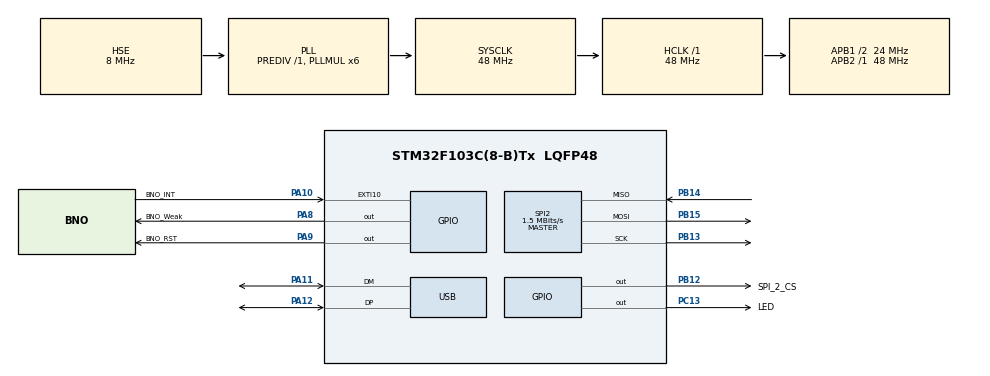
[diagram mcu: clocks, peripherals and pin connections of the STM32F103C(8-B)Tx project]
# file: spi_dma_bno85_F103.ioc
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Dma.Request0=SPI2_RX
Dma.Request1=SPI2_TX
Dma.SPI2_RX.0.Direction=DMA_PERIPH_TO_MEMORY
Dma.SPI2_RX.0.Instance=DMA1_Channel4
Dma.SPI2_RX.0.MemDataAlignment=DMA_MDATAALIGN_BYTE
Dma.SPI2_RX.0.MemInc=DMA_MINC_ENABLE
Dma.SPI2_RX.0.Mode=DMA_NORMAL
Dma.SPI2_RX.0.PeriphDataAlignment=DMA_PDATAALIGN_BYTE
Dma.SPI2_RX.0.PeriphInc=DMA_PINC_DISABLE
Dma.SPI2_RX.0.Priority=DMA_PRIORITY_LOW
Dma.SPI2_TX.1.Direction=DMA_MEMORY_TO_PERIPH
Dma.SPI2_TX.1.Instance=DMA1_Channel5
Dma.SPI2_TX.1.MemDataAlignment=DMA_MDATAALIGN_BYTE
Dma.SPI2_TX.1.MemInc=DMA_MINC_ENABLE
Dma.SPI2_TX.1.Mode=DMA_NORMAL
Dma.SPI2_TX.1.PeriphDataAlignment=DMA_PDATAALIGN_BYTE
Dma.SPI2_TX.1.PeriphInc=DMA_PINC_DISABLE
Dma.SPI2_TX.1.Priority=DMA_PRIORITY_LOW
FREERTOS.Tasks01=defaultTask,24,128,StartDefaultTask,Default,NULL,Dynamic,NULL,NULL;BNO_85_Recive_D,24,128,StartTask02,Default,NULL,Dynamic,NULL,NULL
FREERTOS.configUSE_NEWLIB_REENTRANT=1
Mcu.Family=STM32F1
Mcu.Name=STM32F103C(8-B)Tx
Mcu.Package=LQFP48
NVIC.DMA1_Channel4_IRQn=true\:5\:0\:false\:false\:true\:true\:false\:true\:true
NVIC.DMA1_Channel5_IRQn=true\:5\:0\:false\:false\:true\:true\:false\:true\:true
NVIC.EXTI15_10_IRQn=true\:5\:0\:false\:false\:true\:true\:true\:true\:true
NVIC.PriorityGroup=NVIC_PRIORITYGROUP_4
NVIC.SPI2_IRQn=true\:5\:0\:false\:false\:true\:true\:true\:true\:true
NVIC.TIM4_IRQn=true\:15\:0\:false\:false\:true\:false\:false\:true\:true
NVIC.TimeBase=TIM4_IRQn
NVIC.TimeBaseIP=TIM4
NVIC.USB_LP_CAN1_RX0_IRQn=true\:5\:0\:false\:false\:true\:true\:false\:true\:true
PA10.GPIO_Label=BNO_INT
PA10.GPIO_ModeDefaultEXTI=GPIO_MODE_IT_FALLING
PA10.GPIO_PuPd=GPIO_NOPULL
PA10.Signal=GPXTI10
PA11.Mode=Device
PA11.Signal=USB_DM
PA12.Mode=Device
PA12.Signal=USB_DP
PA13.Mode=Serial_Wire
PA13.Signal=SYS_JTMS-SWDIO
PA14.Mode=Serial_Wire
PA14.Signal=SYS_JTCK-SWCLK
PA8.GPIO_Label=BNO_Weak
PA8.Signal=GPIO_Output
PA9.GPIO_Label=BNO_RST
PA9.Signal=GPIO_Output
PB12.GPIO_Label=SPI_2_CS
PB12.Signal=GPIO_Output
PB13.Mode=Full_Duplex_Master
PB13.Signal=SPI2_SCK
PB14.Mode=Full_Duplex_Master
PB14.Signal=SPI2_MISO
PB15.Mode=Full_Duplex_Master
PB15.Signal=SPI2_MOSI
PC13-TAMPER-RTC.GPIO_Label=LED
PC13-TAMPER-RTC.Signal=GPIO_Output
PD0-OSC_IN.Mode=HSE-External-Oscillator
PD0-OSC_IN.Signal=RCC_OSC_IN
PD1-OSC_OUT.Mode=HSE-External-Oscillator
PD1-OSC_OUT.Signal=RCC_OSC_OUT
ProjectManager.HeapSize=0x200
ProjectManager.StackSize=0x400
ProjectManager.TargetToolchain=STM32CubeIDE
RCC.AHBFreq_Value=48000000
RCC.APB1CLKDivider=RCC_HCLK_DIV2
RCC.APB1Freq_Value=24000000
RCC.APB1TimFreq_Value=48000000
RCC.APB2Freq_Value=48000000
RCC.APB2TimFreq_Value=48000000
RCC.HCLKFreq_Value=48000000
RCC.PLLMUL=RCC_PLL_MUL6
RCC.PLLSourceVirtual=RCC_PLLSOURCE_HSE
RCC.SYSCLKFreq_VALUE=48000000
RCC.SYSCLKSource=RCC_SYSCLKSOURCE_PLLCLK
RCC.USBFreq_Value=48000000
SPI2.BaudRatePrescaler=SPI_BAUDRATEPRESCALER_16
SPI2.CLKPhase=SPI_PHASE_2EDGE
SPI2.CLKPolarity=SPI_POLARITY_HIGH
SPI2.CalculateBaudRate=1.5 MBits/s
SPI2.Direction=SPI_DIRECTION_2LINES
SPI2.Mode=SPI_MODE_MASTER
SPI2.VirtualType=VM_MASTER
USB_DEVICE.CLASS_NAME_FS=CDC
USB_DEVICE.VirtualMode=Cdc
USB_DEVICE.VirtualModeFS=Cdc_FS
VP_FREERTOS_VS_CMSIS_V2.Mode=CMSIS_V2
VP_SYS_VS_tim4.Mode=TIM4
VP_USB_DEVICE_VS_USB_DEVICE_CDC_FS.Mode=CDC_FS
board=custom

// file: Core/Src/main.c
/* USER CODE BEGIN Header */
/**
  ******************************************************************************
  * @file           : main.c
  * @brief          : Main program body
  ******************************************************************************
  * @attention
  *
  * Copyright (c) 2024 STMicroelectronics.
  * All rights reserved.
  *
  * This software is licensed under terms that can be found in the LICENSE file
  * in the root directory of this software component.
  * If no LICENSE file comes with this software, it is provided AS-IS.
  *
  ******************************************************************************
  */
/* USER CODE END Header */
#include "main.h"
#include "cmsis_os.h"
#include "usb_device.h"

/* USER CODE BEGIN Includes */

#include "usbd_cdc_if.h"

#include <stdio.h>
#include <stdbool.h>
#include <string.h>

#include "BNO080.h"
#include "quaternion.h"

#include "Float_transform.h"

/* USER CODE END Includes */

/* USER CODE BEGIN PTD */

extern uint8_t sign_number;
extern int integer_number;
extern uint32_t fractional_number;

/* USER CODE END PTD */

SPI_HandleTypeDef hspi2;
DMA_HandleTypeDef hdma_spi2_rx;
DMA_HandleTypeDef hdma_spi2_tx;

/* Definitions for defaultTask */
osThreadId_t defaultTaskHandle;
const osThreadAttr_t defaultTask_attributes = {
  .name = "defaultTask",
  .stack_size = 128 * 4,
  .priority = (osPriority_t) osPriorityNormal,
};
/* Definitions for BNO_85_Recive_D */
osThreadId_t BNO_85_Recive_DHandle;
const osThreadAttr_t BNO_85_Recive_D_attributes = {
  .name = "BNO_85_Recive_D",
  .stack_size = 128 * 4,
  .priority = (osPriority_t) osPriorityNormal,
};
/* USER CODE BEGIN PV */

extern uint8_t UserTxBufferFS[32];

float q[4];
float quatRadianAccuracy;
char str[100];

/* USER CODE END PV */

void SystemClock_Config(void);
static void MX_GPIO_Init(void);
static void MX_DMA_Init(void);
static void MX_SPI2_Init(void);
void StartDefaultTask(void *argument);
void StartTask02(void *argument);

/* USER CODE BEGIN 0 */

volatile int test_number = 0, test_number2 = 0, test_number3 = 0;

void HAL_GPIO_EXTI_Callback(uint16_t GPIO_Pin)
{
	if (GPIO_Pin == BNO_INT_Pin){
		osThreadFlagsSet(BNO_85_Recive_DHandle, 1);
		test_number++;
	}
}

void HAL_SPI_TxRxCpltCallback(SPI_HandleTypeDef *hspi){
	if(hspi->Instance == SPI2){
		//test_number3++;
	}
}

void sendStringOverUSB(char *str) {
    uint16_t len = strlen(str); // Get the length of the string
    CDC_Transmit_FS((uint8_t*)str, len); // Transmit the string over USB
}

/* USER CODE END 0 */

int main(void)
{

  /* MCU Configuration--------------------------------------------------------*/

  /* Reset of all peripherals, Initializes the Flash interface and the Systick. */
  HAL_Init();

  /* Configure the system clock */
  SystemClock_Config();

  /* Initialize all configured peripherals */
  MX_GPIO_Init();
  MX_DMA_Init();
  MX_SPI2_Init();
  /* USER CODE BEGIN 2 */

  BNO080_Initialization();
  HAL_GPIO_TogglePin(GPIOC, GPIO_PIN_13);
  HAL_Delay(100);

  BNO080_enableRotationVector(2500); //enable rotation vector at 400Hz
  HAL_GPIO_TogglePin(GPIOC, GPIO_PIN_13);
  HAL_Delay(100);

  /* USER CODE END 2 */

  /* Init scheduler */
  osKernelInitialize();

  /* Create the thread(s) */
  /* creation of defaultTask */
  defaultTaskHandle = osThreadNew(StartDefaultTask, NULL, &defaultTask_attributes);

  /* creation of BNO_85_Recive_D */
  BNO_85_Recive_DHandle = osThreadNew(StartTask02, NULL, &BNO_85_Recive_D_attributes);

  /* Start scheduler */
  osKernelStart();

  /* We should never get here as control is now taken by the scheduler */

  /* Infinite loop */
  while (1)
  {

  }
}

void SystemClock_Config(void)
{
  RCC_OscInitTypeDef RCC_OscInitStruct = {0};
  RCC_ClkInitTypeDef RCC_ClkInitStruct = {0};
  RCC_PeriphCLKInitTypeDef PeriphClkInit = {0};

  /** Initializes the RCC Oscillators according to the specified parameters
  * in the RCC_OscInitTypeDef structure.
  */
  RCC_OscInitStruct.OscillatorType = RCC_OSCILLATORTYPE_HSE;
  RCC_OscInitStruct.HSEState = RCC_HSE_ON;
  RCC_OscInitStruct.HSEPredivValue = RCC_HSE_PREDIV_DIV1;
  RCC_OscInitStruct.HSIState = RCC_HSI_ON;
  RCC_OscInitStruct.PLL.PLLState = RCC_PLL_ON;
  RCC_OscInitStruct.PLL.PLLSource = RCC_PLLSOURCE_HSE;
  RCC_OscInitStruct.PLL.PLLMUL = RCC_PLL_MUL6;
  if (HAL_RCC_OscConfig(&RCC_OscInitStruct) != HAL_OK)
  {
    Error_Handler();
  }

  /** Initializes the CPU, AHB and APB buses clocks
  */
  RCC_ClkInitStruct.ClockType = RCC_CLOCKTYPE_HCLK|RCC_CLOCKTYPE_SYSCLK
                              |RCC_CLOCKTYPE_PCLK1|RCC_CLOCKTYPE_PCLK2;
  RCC_ClkInitStruct.SYSCLKSource = RCC_SYSCLKSOURCE_PLLCLK;
  RCC_ClkInitStruct.AHBCLKDivider = RCC_SYSCLK_DIV1;
  RCC_ClkInitStruct.APB1CLKDivider = RCC_HCLK_DIV2;
  RCC_ClkInitStruct.APB2CLKDivider = RCC_HCLK_DIV1;

  if (HAL_RCC_ClockConfig(&RCC_ClkInitStruct, FLASH_LATENCY_1) != HAL_OK)
  {
    Error_Handler();
  }
  PeriphClkInit.PeriphClockSelection = RCC_PERIPHCLK_USB;
  PeriphClkInit.UsbClockSelection = RCC_USBCLKSOURCE_PLL;
  if (HAL_RCCEx_PeriphCLKConfig(&PeriphClkInit) != HAL_OK)
  {
    Error_Handler();
  }
}

static void MX_SPI2_Init(void)
{

  /* SPI2 parameter configuration*/
  hspi2.Instance = SPI2;
  hspi2.Init.Mode = SPI_MODE_MASTER;
  hspi2.Init.Direction = SPI_DIRECTION_2LINES;
  hspi2.Init.DataSize = SPI_DATASIZE_8BIT;
  hspi2.Init.CLKPolarity = SPI_POLARITY_HIGH;
  hspi2.Init.CLKPhase = SPI_PHASE_2EDGE;
  hspi2.Init.NSS = SPI_NSS_SOFT;
  hspi2.Init.BaudRatePrescaler = SPI_BAUDRATEPRESCALER_16;
  hspi2.Init.FirstBit = SPI_FIRSTBIT_MSB;
  hspi2.Init.TIMode = SPI_TIMODE_DISABLE;
  hspi2.Init.CRCCalculation = SPI_CRCCALCULATION_DISABLE;
  hspi2.Init.CRCPolynomial = 10;
  if (HAL_SPI_Init(&hspi2) != HAL_OK)
  {
    Error_Handler();
  }

}

static void MX_DMA_Init(void)
{

  /* DMA controller clock enable */
  __HAL_RCC_DMA1_CLK_ENABLE();

  /* DMA interrupt init */
  /* DMA1_Channel4_IRQn interrupt configuration */
  HAL_NVIC_SetPriority(DMA1_Channel4_IRQn, 5, 0);
  HAL_NVIC_EnableIRQ(DMA1_Channel4_IRQn);
  /* DMA1_Channel5_IRQn interrupt configuration */
  HAL_NVIC_SetPriority(DMA1_Channel5_IRQn, 5, 0);
  HAL_NVIC_EnableIRQ(DMA1_Channel5_IRQn);

}

static void MX_GPIO_Init(void)
{
  GPIO_InitTypeDef GPIO_InitStruct = {0};

  /* GPIO Ports Clock Enable */
  __HAL_RCC_GPIOC_CLK_ENABLE();
  __HAL_RCC_GPIOD_CLK_ENABLE();
  __HAL_RCC_GPIOB_CLK_ENABLE();
  __HAL_RCC_GPIOA_CLK_ENABLE();

  /*Configure GPIO pin Output Level */
  HAL_GPIO_WritePin(LED_GPIO_Port, LED_Pin, GPIO_PIN_RESET);

  /*Configure GPIO pin Output Level */
  HAL_GPIO_WritePin(SPI_2_CS_GPIO_Port, SPI_2_CS_Pin, GPIO_PIN_RESET);

  /*Configure GPIO pin Output Level */
  HAL_GPIO_WritePin(GPIOA, BNO_Weak_Pin|BNO_RST_Pin, GPIO_PIN_RESET);

  /*Configure GPIO pin : LED_Pin */
  GPIO_InitStruct.Pin = LED_Pin;
  GPIO_InitStruct.Mode = GPIO_MODE_OUTPUT_PP;
  GPIO_InitStruct.Pull = GPIO_NOPULL;
  GPIO_InitStruct.Speed = GPIO_SPEED_FREQ_LOW;
  HAL_GPIO_Init(LED_GPIO_Port, &GPIO_InitStruct);

  /*Configure GPIO pin : SPI_2_CS_Pin */
  GPIO_InitStruct.Pin = SPI_2_CS_Pin;
  GPIO_InitStruct.Mode = GPIO_MODE_OUTPUT_PP;
  GPIO_InitStruct.Pull = GPIO_NOPULL;
  GPIO_InitStruct.Speed = GPIO_SPEED_FREQ_LOW;
  HAL_GPIO_Init(SPI_2_CS_GPIO_Port, &GPIO_InitStruct);

  /*Configure GPIO pins : BNO_Weak_Pin BNO_RST_Pin */
  GPIO_InitStruct.Pin = BNO_Weak_Pin|BNO_RST_Pin;
  GPIO_InitStruct.Mode = GPIO_MODE_OUTPUT_PP;
  GPIO_InitStruct.Pull = GPIO_NOPULL;
  GPIO_InitStruct.Speed = GPIO_SPEED_FREQ_LOW;
  HAL_GPIO_Init(GPIOA, &GPIO_InitStruct);

  /*Configure GPIO pin : BNO_INT_Pin */
  GPIO_InitStruct.Pin = BNO_INT_Pin;
  GPIO_InitStruct.Mode = GPIO_MODE_IT_FALLING;
  GPIO_InitStruct.Pull = GPIO_NOPULL;
  HAL_GPIO_Init(BNO_INT_GPIO_Port, &GPIO_InitStruct);

  /* EXTI interrupt init*/
  HAL_NVIC_SetPriority(EXTI15_10_IRQn, 5, 0);
  HAL_NVIC_EnableIRQ(EXTI15_10_IRQn);

}

void StartDefaultTask(void *argument)
{
  /* init code for USB_DEVICE */
  MX_USB_DEVICE_Init();
  for(;;)
  {
    osDelay(1);
  }
}

void StartTask02(void *argument)
{
  /* USER CODE BEGIN StartTask02 */
  /* Infinite loop */
  for(;;)
  {
	  osThreadFlagsWait(1, 0, osWaitForever);

	  TickType_t start_time = osKernelGetTickCount();

	  if(BNO080_dataAvailable() == 1)
		  {

		  	  // End measuring time
		      TickType_t end_time = osKernelGetTickCount();

		      // Calculate elapsed time in milliseconds
		      TickType_t elapsed_time = end_time - start_time;
		      sprintf(str, "%ld, ", elapsed_time);
		      sendStringOverUSB(str);

			  q[0] = BNO080_getQuatI();
			  q[1] = BNO080_getQuatJ();
			  q[2] = BNO080_getQuatK();
			  q[3] = BNO080_getQuatReal();
			  quatRadianAccuracy = BNO080_getQuatRadianAccuracy();
			  Quaternion_Update(&q[0]);

//			  // Call Float_transform for each value
//			  Float_transform(BNO080_Pitch, 2, &sign_number, &integer_number, &fractional_number);
//			  if (!sign_number) {
//			      sprintf(str, "%d.%02d, ", integer_number, fractional_number);
//			  } else {
//			      sprintf(str, "-%d.%02d, ", integer_number, fractional_number);
//			  }
//
//			  Float_transform(BNO080_Roll, 2, &sign_number, &integer_number, &fractional_number);
//			  if (!sign_number) {
//			      sprintf(str + strlen(str), "%d.%02d, ", integer_number, fractional_number);
//			  } else {
//			      sprintf(str + strlen(str), "-%d.%02d, ", integer_number, fractional_number);
//			  }
//
//			  Float_transform(BNO080_Yaw, 2, &sign_number, &integer_number, &fractional_number);
//			  if (!sign_number) {
//			      sprintf(str + strlen(str), "%d.%02d\r\n", integer_number, fractional_number);
//			  } else {
//			      sprintf(str + strlen(str), "-%d.%02d\r\n", integer_number, fractional_number);
//			  }
//
//			  sendStringOverUSB(str);

		  }

	  //test_number2++;

    //osDelay(1);
  }
  /* USER CODE END StartTask02 */
}

void HAL_TIM_PeriodElapsedCallback(TIM_HandleTypeDef *htim)
{
  if (htim->Instance == TIM4) {
    HAL_IncTick();
  }
}

void Error_Handler(void)
{
  __disable_irq();
  while (1)
  {
  }
}
